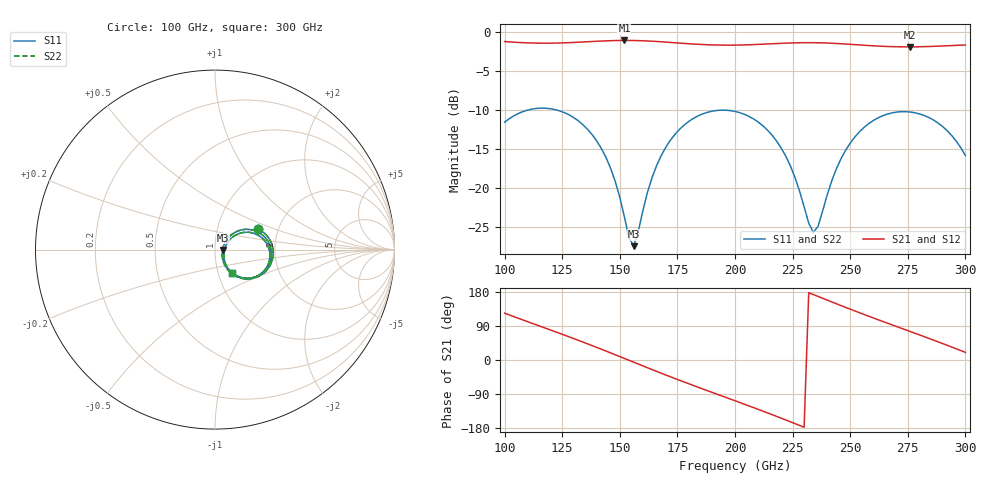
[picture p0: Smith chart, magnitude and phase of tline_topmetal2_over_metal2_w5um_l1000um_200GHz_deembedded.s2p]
! Created with skrf 2.2.0 (http://scikit-rf.org).
# GHz S DB R 50.0
! Port[1] = P1
! Port[2] = P2
!freq dBS11 angS11 dBS21 angS21 dBS12 angS12 dBS22 angS22
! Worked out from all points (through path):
!   101 points, 100 GHz to 300 GHz, reference 50 ohm
!   highest |S21| = -1.04 dB at 152 GHz (marker M1); lowest = -1.9 dB at 276 GHz (marker M2)
!   group delay of S21, straight-line fit = 6.47 ps
!   lowest |S11| = -27.5 dB at 156 GHz (marker M3), VSWR 1.09, Z = 54.4 - j0.228 ohm
!   |S11| at or under -10 dB: start of sweep to 110 GHz; 122.7 GHz to end of sweep
!   |S22| runs from -27.8 to -9.7 dB; largest |S21 - S12| = 9.8e-14
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100  -11.56 26.1  -1.18 123.6  -1.18 123.6  -11.56 26.0
108  -10.18 10.5  -1.32 105.5  -1.32 105.5  -10.19 10.4
118  -9.76 -8.9  -1.39 83.4  -1.39 83.4  -9.76 -9.1
134  -11.87 -39.6  -1.24 47.3  -1.24 47.3  -11.88 -39.9
144  -16.09 -55.6  -1.09 23.6  -1.09 23.6  -16.10 -56.0
152  -23.74 -49.1  -1.04 4.1  -1.04 4.1  -23.85 -50.1
156  -27.50 -2.8  -1.05 -5.7  -1.05 -5.7  -27.78 -2.8
162  -20.59 41.1  -1.11 -20.4  -1.11 -20.4  -20.66 41.8
168  -15.83 39.3  -1.21 -34.9  -1.21 -34.9  -15.86 39.8
184  -10.74 12.4  -1.53 -71.9  -1.53 -71.9  -10.75 12.6
200  -10.17 -17.7  -1.64 -107.5  -1.64 -107.5  -10.18 -17.5
210  -11.52 -36.0  -1.55 -130.0  -1.55 -130.0  -11.53 -35.8
220  -14.85 -51.7  -1.41 -153.4  -1.41 -153.4  -14.86 -51.5
234  -25.72 -13.1  -1.33 172.7  -1.33 172.7  -25.70 -12.8
236  -24.98 9.8  -1.34 167.9  -1.34 167.9  -24.95 9.9
244  -17.55 35.4  -1.43 148.5  -1.43 148.5  -17.54 35.5
250  -14.25 29.9  -1.54 134.2  -1.54 134.2  -14.25 29.9
258  -11.75 17.2  -1.69 115.6  -1.69 115.6  -11.75 17.2
268  -10.37 -0.8  -1.83 93.1  -1.83 93.1  -10.37 -0.8
276  -10.24 -15.4  -1.86 75.3  -1.86 75.3  -10.25 -15.4
288  -11.63 -36.8  -1.78 48.3  -1.78 48.3  -11.64 -36.8
300  -15.83 -53.2  -1.63 20.2  -1.63 20.2  -15.86 -53.4
